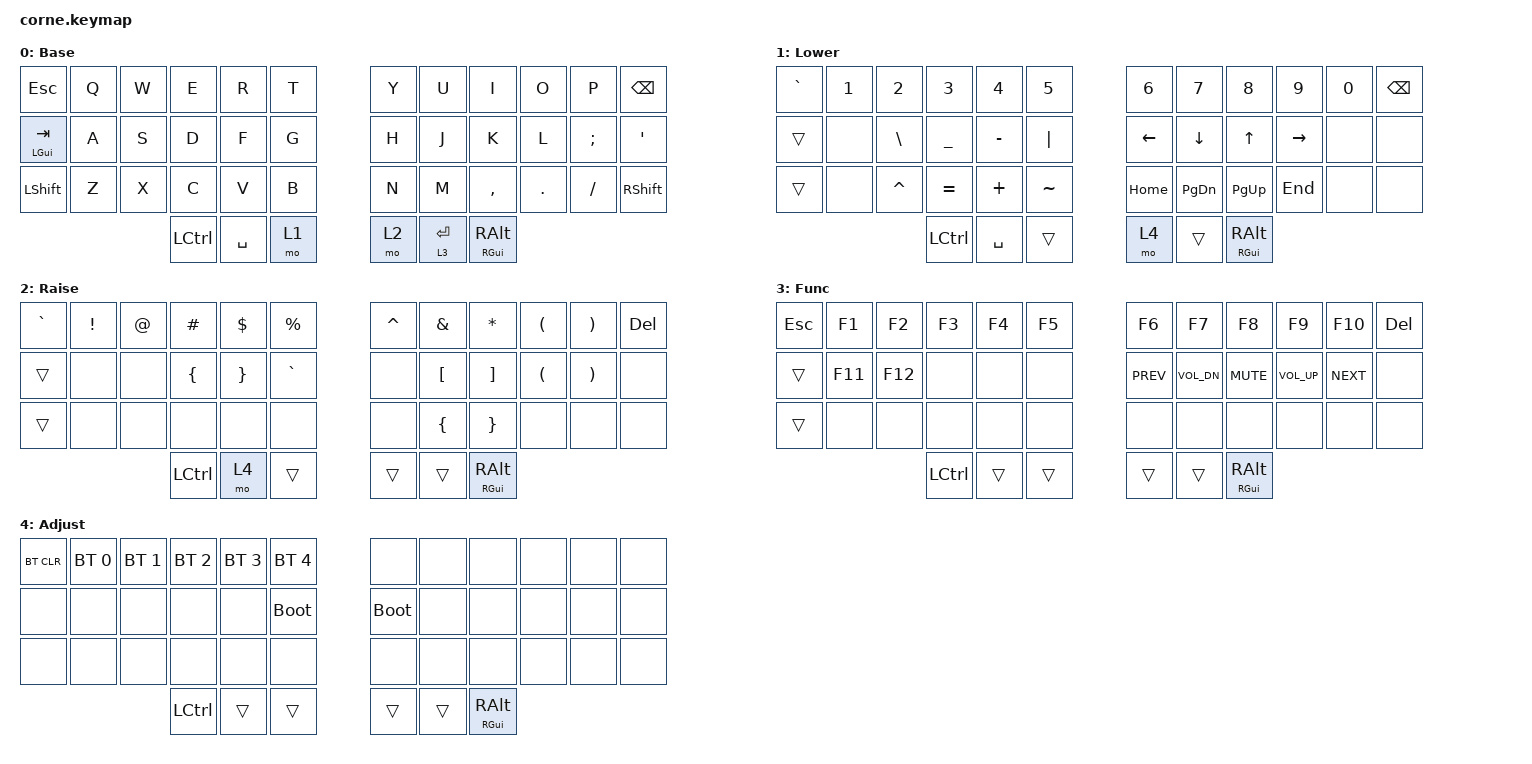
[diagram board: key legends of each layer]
/*
 * Corne keymap based on the Canorus/do42 brokenaxe QWERTY layout,
 * compressed to Corne's 3-thumb-per-side geometry.
 */

#include <behaviors.dtsi>
#include <dt-bindings/zmk/keys.h>
#include <dt-bindings/zmk/bt.h>

/ {
    combos {
        compatible = "zmk,combos";

        combo_caps_word {
            timeout-ms = <50>;
            key-positions = <24 35>;
            bindings = <&caps_word>;
        };
    };

    keymap {
        compatible = "zmk,keymap";

        base_layer {
            display-name = "Base";
            bindings = <
&kp ESC            &kp Q      &kp W       &kp E       &kp R      &kp T        &kp Y       &kp U       &kp I       &kp O       &kp P      &kp BSPC
&mt LGUI TAB       &kp A      &kp S       &kp D       &kp F      &kp G        &kp H       &kp J       &kp K       &kp L       &kp SEMI   &kp SQT
&kp LSHFT          &kp Z      &kp X       &kp C       &kp V      &kp B        &kp N       &kp M       &kp COMMA   &kp DOT     &kp FSLH   &kp RSHFT
                                &kp LCTRL  &kp SPACE   &mo 1      &mo 2        &lt 3 RET    &mt RGUI RALT
            >;
        };

        lower_layer {
            display-name = "Lower";
            bindings = <
&kp GRAVE          &kp N1     &kp N2      &kp N3      &kp N4     &kp N5       &kp N6      &kp N7      &kp N8      &kp N9      &kp N0     &kp BSPC
&trans             &none      &kp BSLH    &kp UNDER   &kp MINUS  &kp PIPE     &kp LEFT    &kp DOWN    &kp UP      &kp RIGHT   &none      &none
&trans             &none      &kp CARET   &kp EQUAL   &kp PLUS   &kp TILDE    &kp HOME    &kp PG_DN   &kp PG_UP   &kp END     &none      &none
                                &kp LCTRL  &kp SPACE   &trans     &mo 4        &trans      &mt RGUI RALT
            >;
        };

        raise_layer {
            display-name = "Raise";
            bindings = <
&kp GRAVE          &kp EXCL   &kp AT      &kp HASH    &kp DLLR   &kp PRCNT    &kp CARET   &kp AMPS    &kp ASTRK   &kp LPAR    &kp RPAR   &kp DEL
&trans             &none      &none       &kp LBRC    &kp RBRC   &kp GRAVE    &none       &kp LBKT    &kp RBKT    &kp LPAR    &kp RPAR   &none
&trans             &none      &none       &none       &none      &none        &none       &kp LBRC    &kp RBRC    &none       &none      &none
                                &kp LCTRL  &mo 4       &trans     &trans       &trans      &mt RGUI RALT
            >;
        };

        func_layer {
            display-name = "Func";
            bindings = <
&kp ESC            &kp F1     &kp F2      &kp F3      &kp F4     &kp F5       &kp F6      &kp F7      &kp F8      &kp F9      &kp F10    &kp DEL
&trans             &kp F11    &kp F12     &none       &none      &none        &kp C_PREV  &kp C_VOL_DN &kp C_MUTE &kp C_VOL_UP &kp C_NEXT &none
&trans             &none      &none       &none       &none      &none        &none       &none       &none       &none       &none      &none
                                &kp LCTRL  &trans      &trans     &trans       &trans      &mt RGUI RALT
            >;
        };

        adjust_layer {
            display-name = "Adjust";
            bindings = <
&bt BT_CLR         &bt BT_SEL 0 &bt BT_SEL 1 &bt BT_SEL 2 &bt BT_SEL 3 &bt BT_SEL 4   &none       &none       &none       &none       &none      &none
&none              &none        &none        &none        &none        &bootloader    &bootloader &none       &none       &none       &none      &none
&none              &none        &none        &none        &none        &none          &none       &none       &none       &none       &none      &none
                                &kp LCTRL    &trans       &trans        &trans         &trans      &mt RGUI RALT
            >;
        };
    };
};
